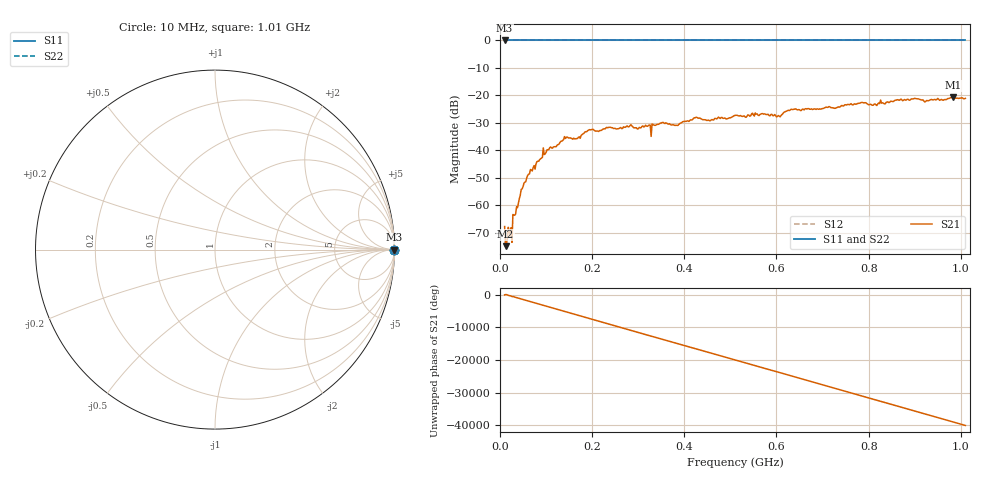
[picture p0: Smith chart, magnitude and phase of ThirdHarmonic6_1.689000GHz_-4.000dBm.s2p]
! 8/16/2025 8:16:44 PM
! C:\ANRITSUVNA\TEMP\TEMP.S2P
! CHANNEL.1
! TR.MEASUREMENT
! RAW.DATA
! RF.CORRECTION.OFF
! AVERAGING.OFF
! IF.BANDWIDTH: 5KHZ
! SWEEPTYPE:  FREQ.SWEEP(Linear)
! Reference Plane Port Info
! PORT:  PORT1  PORT2
! DISTANCE:  0  m  0  m
! TIME:  0  s  0  s
! PHASE.OFFSET:  0  deg.  0  deg.
! LOSS:  0  dB  0  dB
! REF.LOSS:  0  dB  0  dB
! REF.FREQ:  0  Hz  0  Hz
! Power Info
! POWER:  -20  dBm  -20  dBm
! EFF.POWER:  -20  dBm  -20  dBm
! SOURCE.ATTEN:  0  dB  0  dB
! TEST.ATTEN:  0  dB  0  dB
# GHZ S RI R 50.0
! FREQ.GHZ  S11RE  S11IM  S21RE  S21IM  S12RE  S12IM  S22RE  S22IM
!; PortSelection: Port_12
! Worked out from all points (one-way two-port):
!   501 points, 10 MHz to 1.01 GHz, reference 50 ohm
!   highest |S21| = -20.70 dB at 984 MHz (marker M1); lowest = -74.9 dB at 12 MHz (marker M2)
!   lowest |S11| = 0.0 dB at 10 MHz (marker M3)
!   |S11| at or under -10 dB: nowhere
!   |S22| runs from 0.0 to 0.0 dB; largest |S21 - S12| = 1.1
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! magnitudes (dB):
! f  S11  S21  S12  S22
! 10 MHz  0.0  -67.8  0.0  0.0
! 12 MHz  0.0  -74.9  0.0  0.0
! 16 MHz  0.0  -72.1  0.0  0.0
! 24 MHz  0.0  -68.2  0.0  0.0
! 32 MHz  0.0  -63.7  0.0  0.0
! 50 MHz  0.0  -53.3  0.0  0.0
! 64 MHz  0.0  -48.6  0.0  0.0
! 90 MHz  0.0  -42.9  0.0  0.0
! 142 MHz  0.0  -35.7  0.0  0.0
! 178 MHz  0.0  -34.3  0.0  0.0
! 198 MHz  0.0  -32.5  0.0  0.0
! 344 MHz  0.0  -30.5  0.0  0.0
! 382 MHz  0.0  -30.9  0.0  0.0
! 424 MHz  0.0  -28.1  0.0  0.0
! 454 MHz  0.0  -29.2  0.0  0.0
! 510 MHz  0.0  -27.3  0.0  0.0
! 604 MHz  0.0  -27.4  0.0  0.0
! 634 MHz  0.0  -25.1  0.0  0.0
! 678 MHz  0.0  -25.2  0.0  0.0
! 844 MHz  0.0  -22.6  0.0  0.0
! 984 MHz  0.0  -20.7  0.0  0.0
! 1.01 GHz  0.0  -21.1  0.0  0.0
